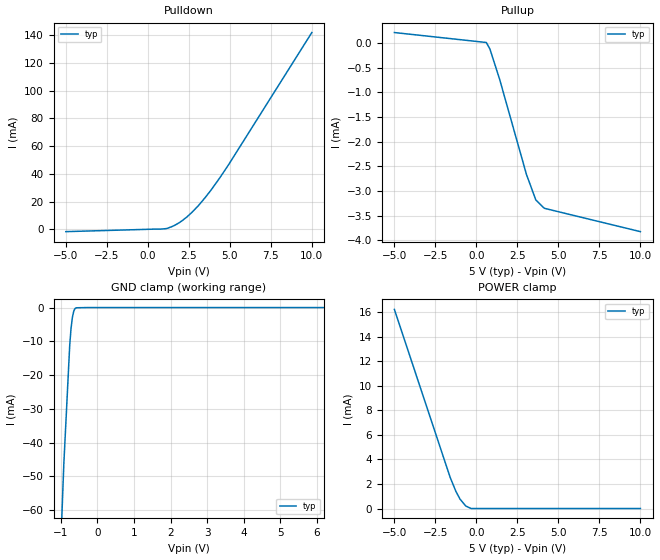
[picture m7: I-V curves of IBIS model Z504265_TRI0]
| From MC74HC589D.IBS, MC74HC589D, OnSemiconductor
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| (C) COPYRIGHT 1993-2000
| MENTOR GRAPHICS CORPORATION
| ICX STANDARD LIBRARY, ICX PROJECT MODELING,
| ICX CUSTOM MODELING, ICX VENDOR MODEL
| ALL RIGHTS RESERVED.
| THE FOLLOWING ARE TRADEMARKS OR SERVICE MARKS OF
| MENTOR GRAPHICS CORPORATION:ICX (R), ICX STANDARD
| LIBRARY(R), ICX PROJECT MODELING(R), ICX CUSTOM
| MODELING(R), qualityIBIS(TM), MODELVIEWER(TM),
| AND MODELEDITOR(TM)
| ALL COPIES OF SOFTWARE, INCLUDING BUT NOT LIMITED TO
| ANY MODIFICATIONS, ENHANCEMENTS OR DERIVATIVE WORKS,
| MUST CONTAIN ALL MENTOR GRAPHICS CORPORATION'S
| NOTICES AND LEGENDS, INCLUDING THOSE EMBEDDED IN
| SOFTWARE AND THOSE AFFIXED TO SOFTWARE MEDIUM
| AND CONTAINER, AS RECEIVED FROM MENTOR GRAPHICS
| CORPORATION.
| Model Application Version 1.89 2/18/99.
[Model] Z504265_TRI0
Model_type 3-state
Vref=0.000V
Rref=500.0Mohms
Cref=50.00pF
Vmeas=2.500V
C_comp 8.000pF NA NA
| variable typ   min   max
[Voltage Range] 5.000V NA NA
[POWER Clamp Reference] 5.000V NA NA
[Pullup Reference] 5.000V NA NA
[Pulldown Reference] 0.000V NA NA
[GND Clamp Reference] 0.000V NA NA
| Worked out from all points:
|   slope of the pulldown table from 0 to 0.75 V, typ, clamps not added: 4.23 kohm
|   slope of the pullup table from 0 to 0.75 V, typ, clamps not added: 6.91 kohm
|   GND clamp passes 1 mA (typ) near -0.65 V on its own axis
[GND Clamp]
-5V       -1.445A    NA         NA
-1.055V   -85.62mA   NA         NA
-917.9mV  -46.2mA    NA         NA
-756.8mV  -11.11mA   NA         NA
-722.6mV  -6.333mA   NA         NA
-683.3mV  -2.845mA   NA         NA
-644.6mV  -961.7uA   NA         NA
-607.1mV  -226.4uA   NA         NA
-568.3mV  -61.23uA   NA         NA
-284.2mV  0A         NA         NA
10V       0A         NA         NA
[Pulldown]
-5V       -1.757mA   NA         NA
1.143V    459uA      NA         NA
1.802V    3.911mA    NA         NA
2.392V    8.915mA    NA         NA
3.084V    17.03mA    NA         NA
3.496V    22.81mA    NA         NA
4.395V    37.2mA     NA         NA
4.926V    46.61mA    NA         NA
10V       142mA      NA         NA
[Pullup]
-5V       214.2uA    NA         NA
605mV     11.99uA    NA         NA
822mV     -117.8uA   NA         NA
1.416V    -733.9uA   NA         NA
3.051V    -2.664mA   NA         NA
3.623V    -3.184mA   NA         NA
4.14V     -3.353mA   NA         NA
10V       -3.827mA   NA         NA
[POWER Clamp]
-5V       16.23mA    NA         NA
-1.602V   2.547mA    NA         NA
-1.254V   1.409mA    NA         NA
-1.001V   772.7uA    NA         NA
-649mV    206.3uA    NA         NA
-324.5mV  0A         NA         NA
10V       0A         NA         NA
[Ramp]
| variable typ min max
dV/dt_r 1.822/1.309n NA NA
dV/dt_f 1.822/1.394n NA NA
R_load = 2.500kOhms
